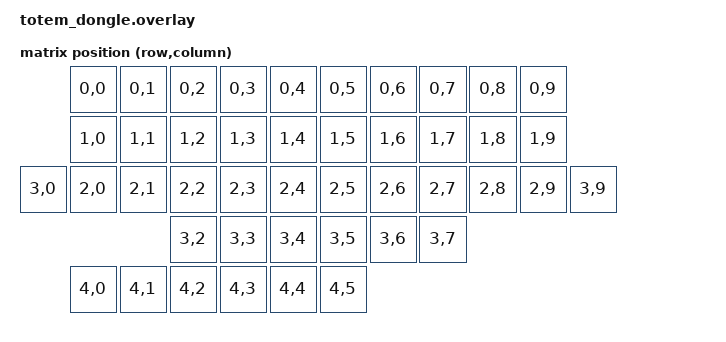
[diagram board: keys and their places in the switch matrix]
/*
 * Totem dongle (central) shield.
 *
 * A keyless central: it has NO real key matrix (mock kscan) but keeps the same
 * matrix-transform as the halves so forwarded key positions map correctly.
 * It also hosts the receiving end of the trackball input-split.
 *
 * Build together with the asurada_adapter display shield:
 *   shield: totem_dongle asurada_adapter
 */

#include <dt-bindings/zmk/matrix_transform.h>
#include <dt-bindings/zmk/input_transform.h>
#include <input/processors.dtsi>

/ {
    chosen {
        zmk,kscan = &mock_kscan;
        zmk,matrix_transform = &default_transform;
    };

    default_transform: keymap_transform_0 {
        compatible = "zmk,matrix-transform";
        columns = <10>;
        rows = <5>; /* row 4 (positions 38-43) = Adept trackball buttons */
        map = <
                RC(0,0) RC(0,1) RC(0,2) RC(0,3) RC(0,4)    RC(0,5) RC(0,6) RC(0,7) RC(0,8) RC(0,9)
                RC(1,0) RC(1,1) RC(1,2) RC(1,3) RC(1,4)    RC(1,5) RC(1,6) RC(1,7) RC(1,8) RC(1,9)
        RC(3,0) RC(2,0) RC(2,1) RC(2,2) RC(2,3) RC(2,4)    RC(2,5) RC(2,6) RC(2,7) RC(2,8) RC(2,9) RC(3,9)
                                RC(3,2) RC(3,3) RC(3,4)    RC(3,5) RC(3,6) RC(3,7)
                RC(4,0) RC(4,1) RC(4,2) RC(4,3) RC(4,4) RC(4,5)
        >;
    };

    mock_kscan: kscan_mock {
        compatible = "zmk,kscan-mock";
        columns = <0>;
        rows = <0>;
        events = <0>;
    };

    /* Receiving end of the trackball input-split (reg must match the
     * trackball peripheral's node). */
    split_inputs {
        #address-cells = <1>;
        #size-cells = <0>;

        trackball_split: trackball_split@0 {
            compatible = "zmk,input-split";
            reg = <0>;
        };
    };

    /* Turns the forwarded trackball movement into HID pointer events.
     * Mirrors the original adeptBLE input-listener verbatim; only the source
     * device differs (forwarded split input vs. the local sensor). Scroll =
     * SCRLM(6)/SCRLH(7); Snipe = SNIPE(8) in totem.keymap. */
    trackball_listener: trackball_listener {
        compatible = "zmk,input-listener";
        device = <&trackball_split>;
        input-processors = <&zip_xy_swap_mapper>;

        default {
            /* Normal cursor on ALL keyboard layers, not just BASE -- otherwise
             * the trackball freezes on any non-BASE layer (notably the CMK-DH
             * toggle, which is persistent). Scroll(7,8)/Snipe(9) override below
             * when they are the highest active layer. */
            layers = <0 1 2 3 4 5 6>; /* BASE CMKDH NAV SYM ADJ TVP1 TVP2 */
            process-next;
        };
        scroll {
            layers = <7 8>; /* SCRLM SCRLH */
            input-processors = <&zip_xy_transform (INPUT_TRANSFORM_X_INVERT)>, <&zip_xy_swap_mapper>, <&zip_xy_scaler 1 10>, <&zip_xy_to_scroll_mapper>;
            process-next;
        };
        snipe {
            layers = <9>;   /* SNIPE */
            input-processors = <&zip_xy_scaler 1 5>;
            process-next;
        };
    };
};
